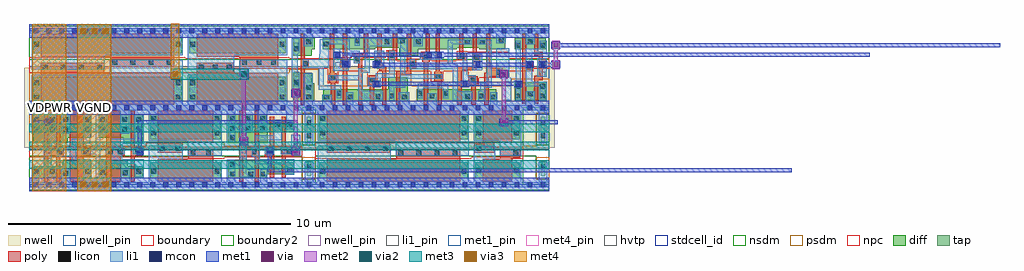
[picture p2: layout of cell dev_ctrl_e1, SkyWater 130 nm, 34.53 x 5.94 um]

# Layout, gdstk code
from math import pi, radians
import gdstk
lib = gdstk.Library(unit=1e-6, precision=1e-09)
def R(c, l, rs):  # rectangles x0, y0, x1, y1
    for r in rs: c.add(gdstk.rectangle(r[:2], r[2:], *l))
def A(c, l, x, y, w, h, nx, ny, dx, dy):  # array of equal rectangles
    R(c, l, [(x+i*dx, y+j*dy, x+i*dx+w, y+j*dy+h) for i in range(nx) for j in range(ny)])
def P(c, l, *ps):  # polygons
    for p in ps: c.add(gdstk.Polygon(p, *l))
nwell_pin = (64, 16)
nwell = (64, 20)
diff = (65, 20)
tap = (65, 44)
poly = (66, 20)
licon = (66, 44)
li1_pin = (67, 16)
li1 = (67, 20)
mcon = (67, 44)
met1_pin = (68, 16)
met1 = (68, 20)
via = (68, 44)
met2 = (69, 20)
via2 = (69, 44)
met3 = (70, 20)
via3 = (70, 44)
met4_pin = (71, 16)
met4 = (71, 20)
hvtp = (78, 44)
stdcell_id = (81, 4)
nsdm = (93, 44)
psdm = (94, 20)
npc = (95, 20)
pwell_pin = (122, 16)
boundary = (235, 4)
boundary2 = (236, 0)

sky130_fd_sc_hd__tapvpwr = lib.new_cell('sky130_fd_sc_hd__tapvpwrvgnd_1')
R(sky130_fd_sc_hd__tapvpwr, nwell, [(-0.19,1.305,0.65,2.91)])
R(sky130_fd_sc_hd__tapvpwr, tap, [(0.145,0.32,0.315,0.845), (0.145,1.525,0.315,2.4)])
R(sky130_fd_sc_hd__tapvpwr, licon, [(0.145,0.555,0.315,0.725), (0.145,1.645,0.315,1.815), (0.145,2.11,0.315,2.28)])
R(sky130_fd_sc_hd__tapvpwr, li1, [(0,-0.085,0.46,0.085), (0.085,0,0.375,0.81), (0.085,1.47,0.375,2.72), (0,2.635,0.46,2.805)])
R(sky130_fd_sc_hd__tapvpwr, mcon, [(0.145,-0.085,0.315,0.085), (0.145,2.635,0.315,2.805)])
R(sky130_fd_sc_hd__tapvpwr, met1_pin, [(0.105,-0.09,0.36,0.1), (0.11,2.62,0.375,2.765)])
R(sky130_fd_sc_hd__tapvpwr, met1, [(0,-0.24,0.46,0.24), (0,2.48,0.46,2.96)])
R(sky130_fd_sc_hd__tapvpwr, hvtp, [(0,1.25,0.46,2.72)])
R(sky130_fd_sc_hd__tapvpwr, stdcell_id, [(0,0,0.46,2.72)])
R(sky130_fd_sc_hd__tapvpwr, nsdm, [(0,-0.19,0.46,0.19), (0,1.395,0.46,2.53)])
R(sky130_fd_sc_hd__tapvpwr, psdm, [(0,0.19,0.46,0.975), (0,2.53,0.46,2.91)])
sky130_fd_sc_hd__tapvpwr.add(gdstk.Label('VPWR', (0.23,2.72), layer=68, texttype=5))
sky130_fd_sc_hd__tapvpwr.add(gdstk.Label('VGND', (0.23,0), layer=68, texttype=5))
sky130_fd_sc_hd__tapvpwr.add(gdstk.Label('tapvpwrvgnd_1', (0,0), layer=83, texttype=44))

sky130_fd_sc_hd__fill_1 = lib.new_cell('sky130_fd_sc_hd__fill_1')
R(sky130_fd_sc_hd__fill_1, nwell_pin, [(0.155,2.67,0.255,2.755)])
R(sky130_fd_sc_hd__fill_1, nwell, [(-0.19,1.305,0.65,2.91)])
R(sky130_fd_sc_hd__fill_1, mcon, [(0.145,-0.085,0.315,0.085), (0.145,2.635,0.315,2.805)])
R(sky130_fd_sc_hd__fill_1, met1_pin, [(0.11,-0.065,0.29,0.08), (0.11,2.635,0.29,2.785)])
R(sky130_fd_sc_hd__fill_1, hvtp, [(0,1.25,0.46,2.72)])
R(sky130_fd_sc_hd__fill_1, stdcell_id, [(0,0,0.46,2.72)])
R(sky130_fd_sc_hd__fill_1, nsdm, [(0,-0.19,0.46,1.015)])
R(sky130_fd_sc_hd__fill_1, psdm, [(0,1.355,0.46,2.91)])
R(sky130_fd_sc_hd__fill_1, pwell_pin, [(0.14,-0.055,0.26,0.055)])
sky130_fd_sc_hd__fill_1.add(gdstk.FlexPath([(0,0),(0.46,0)], 0.17, ends="flush", simple_path=True, layer=67, datatype=20))  # li1
sky130_fd_sc_hd__fill_1.add(gdstk.FlexPath([(0,2.72),(0.46,2.72)], 0.17, ends="flush", simple_path=True, layer=67, datatype=20))  # li1
sky130_fd_sc_hd__fill_1.add(gdstk.FlexPath([(0,2.72),(0.46,2.72)], 0.48, ends="flush", simple_path=True, layer=68, datatype=20))  # met1
sky130_fd_sc_hd__fill_1.add(gdstk.FlexPath([(0,0),(0.46,0)], 0.48, ends="flush", simple_path=True, layer=68, datatype=20))  # met1
sky130_fd_sc_hd__fill_1.add(gdstk.Label('VPWR', (0.205,2.72), layer=68, texttype=5))
sky130_fd_sc_hd__fill_1.add(gdstk.Label('VGND', (0.205,0), layer=68, texttype=5))
sky130_fd_sc_hd__fill_1.add(gdstk.Label('VPB', (0.23,2.72), layer=64, texttype=5))
sky130_fd_sc_hd__fill_1.add(gdstk.Label('VNB', (0.23,0), layer=64, texttype=59))
sky130_fd_sc_hd__fill_1.add(gdstk.Label('fill_1', (0,0), layer=83, texttype=44))

sky130_fd_sc_hd__dfrtp_1 = lib.new_cell('sky130_fd_sc_hd__dfrtp_1')
R(sky130_fd_sc_hd__dfrtp_1, nwell_pin, [(0.145,2.635,0.315,2.805)])
R(sky130_fd_sc_hd__dfrtp_1, nwell, [(-0.19,1.305,9.39,2.91)])
R(sky130_fd_sc_hd__dfrtp_1, diff, [(0.135,0.235,1.225,0.655), (0.135,1.815,1.225,2.455), (3.305,2.065,4.7,2.485)])
P(sky130_fd_sc_hd__dfrtp_1, diff, [(8,2.485),(5.015,2.485),(5.015,1.645),(5.695,1.645),(5.695,2.065),(8,2.065)],
  [(9.065,2.485),(8.325,2.485),(8.325,1.845),(8.405,1.845),(8.405,1.485),(9.065,1.485)],
  [(9.065,0.885),(8.405,0.885),(8.405,0.655),(8.295,0.655),(8.295,0.235),(9.065,0.235)],
  [(8.025,0.655),(6.165,0.655),(6.165,0.595),(5.315,0.595),(5.315,0.875),(4.645,0.875),(4.645,0.655),(3.285,0.655),(3.285,0.595),(2.49,0.595),(2.49,0.655),(1.565,0.655),(1.565,0.235),(8.025,0.235)],
  [(3.335,2.485),(1.89,2.485),(1.89,2.065),(3.33,2.065),(3.33,2.48),(3.335,2.48)])
R(sky130_fd_sc_hd__dfrtp_1, poly, [(3.875,0.105,4.025,1.515), (4.29,1.055,4.44,2.615), (3.805,1.445,4.08,1.775), (3.805,1.76,3.955,2.615)])
P(sky130_fd_sc_hd__dfrtp_1, poly, [(7.79,1.825),(7.73,1.825),(7.73,2.615),(7.58,2.615),(7.58,1.825),(7.52,1.825),(7.52,1.495),(7.615,1.495),(7.615,0.105),(7.765,0.105),(7.765,1.495),(7.79,1.495)],
  [(0.545,0.88),(0.38,0.88),(0.38,1.59),(0.545,1.59),(0.545,2.585),(0.395,2.585),(0.395,1.74),(0.23,1.74),(0.23,1.325),(0.11,1.325),(0.11,0.995),(0.23,0.995),(0.23,0.73),(0.395,0.73),(0.395,0.105),(0.545,0.105)],
  [(0.965,2.585),(0.815,2.585),(0.815,1.37),(0.59,1.37),(0.59,1.1),(0.815,1.1),(0.815,0.105),(0.965,0.105)],
  [(2.3,2.615),(2.15,2.615),(2.15,1.63),(1.655,1.63),(1.655,1.3),(2.09,1.3),(2.09,0.105),(2.24,0.105),(2.24,1.48),(2.3,1.48)],
  [(3.255,2.615),(3.105,2.615),(3.105,1.395),(2.565,1.395),(2.565,1.095),(2.45,1.095),(2.45,0.765),(2.565,0.765),(2.565,0.105),(2.715,0.105),(2.715,0.765),(2.72,0.765),(2.72,1.245),(3.255,1.245)],
  [(2.86,1.875),(2.76,1.875),(2.76,2.615),(2.61,2.615),(2.61,1.875),(2.53,1.875),(2.53,1.605),(2.86,1.605)],
  [(3.26,1.035),(2.93,1.035),(2.93,0.765),(3.045,0.765),(3.045,0.105),(3.195,0.105),(3.195,0.765),(3.26,0.765)],
  [(4.505,1.095),(4.235,1.095),(4.235,0.105),(4.385,0.105),(4.385,0.765),(4.505,0.765)],
  [(5.425,2.615),(5.275,2.615),(5.275,1.57),(4.895,1.57),(4.895,1.335),(4.715,1.335),(4.715,1.005),(4.895,1.005),(4.895,0.105),(5.045,0.105),(5.045,1.42),(5.425,1.42)],
  [(5.725,1.035),(5.39,1.035),(5.39,0.105),(5.54,0.105),(5.54,0.705),(5.725,0.705)],
  [(6.205,1.275),(6.085,1.275),(6.085,1.335),(6.02,1.335),(6.02,1.395),(5.92,1.395),(5.92,2.615),(5.77,2.615),(5.77,1.245),(5.875,1.245),(5.875,1.185),(5.935,1.185),(5.935,0.105),(6.085,0.105),(6.085,0.945),(6.205,0.945)],
  [(6.4,1.905),(6.35,1.905),(6.35,2.615),(6.2,2.615),(6.2,1.905),(6.13,1.905),(6.13,1.575),(6.4,1.575)],
  [(6.925,1.145),(6.77,1.145),(6.77,2.615),(6.62,2.615),(6.62,0.965),(6.415,0.965),(6.415,0.105),(6.565,0.105),(6.565,0.815),(6.925,0.815)],
  [(7.405,1.285),(7.31,1.285),(7.31,2.615),(7.16,2.615),(7.16,1.285),(7.135,1.285),(7.135,0.955),(7.16,0.955),(7.16,0.105),(7.31,0.105),(7.31,0.955),(7.405,0.955)],
  [(8.805,2.615),(8.655,2.615),(8.655,1.325),(8.51,1.325),(8.51,0.995),(8.655,0.995),(8.655,0.105),(8.805,0.105)])
R(sky130_fd_sc_hd__dfrtp_1, licon, [(1.625,0.275,1.795,0.445), (5.115,0.275,5.285,0.445), (6.725,0.275,6.895,0.445), (0.595,0.295,0.765,0.465), (4.555,0.295,4.725,0.465), (5.665,0.295,5.835,0.465), (8.435,0.295,8.605,0.465), (2.29,0.305,2.46,0.475), (2.825,0.305,2.995,0.475), (7.815,0.375,7.985,0.545), (0.175,0.425,0.345,0.595), (1.015,0.425,1.185,0.595), (8.855,0.545,9.025,0.715), (5.505,0.785,5.675,0.955), (3.01,0.815,3.18,0.985), (2.5,0.845,2.67,1.015), (4.285,0.845,4.455,1.015), (6.705,0.895,6.875,1.065), (5.985,1.025,6.155,1.195), (7.185,1.035,7.355,1.205), (0.16,1.075,0.33,1.245), (8.56,1.075,8.73,1.245), (4.765,1.085,4.935,1.255), (0.67,1.15,0.84,1.32), (1.705,1.38,1.875,1.55), (3.855,1.525,4.025,1.695), (7.57,1.575,7.74,1.745), (2.61,1.655,2.78,1.825), (6.18,1.655,6.35,1.825), (8.855,1.735,9.025,1.905), (0.175,1.875,0.345,2.045), (1.015,1.875,1.185,2.045), (8.435,1.915,8.605,2.085), (8.855,2.075,9.025,2.245), (3.585,2.125,3.755,2.295), (4.49,2.125,4.66,2.295), (7.36,2.125,7.53,2.295), (0.595,2.135,0.765,2.305), (4.07,2.205,4.24,2.375), (0.175,2.215,0.345,2.385), (1.015,2.215,1.185,2.385), (2.35,2.215,2.52,2.385), (5.495,2.215,5.665,2.385), (2.815,2.245,2.985,2.415), (5.98,2.25,6.15,2.42), (1.93,2.255,2.1,2.425), (5.055,2.255,5.225,2.425), (6.94,2.255,7.11,2.425), (7.79,2.255,7.96,2.425), (8.435,2.255,8.605,2.425)])
A(sky130_fd_sc_hd__dfrtp_1, li1_pin, 8.88, 1.445, 0.17, 0.17, 1, 3, 0, 0.34)
R(sky130_fd_sc_hd__dfrtp_1, li1_pin, [(8.88,0.425,9.05,0.595), (7.405,0.765,7.575,0.935), (0.15,1.105,0.32,1.275), (7.405,1.105,7.575,1.275), (0.15,1.445,0.32,1.615), (1.525,1.445,1.695,1.615)])
R(sky130_fd_sc_hd__dfrtp_1, li1, [(0,-0.085,9.2,0.085), (1.545,-0.03,1.875,0.445), (8.38,0.05,8.685,0.545), (4.475,0.055,4.805,0.545), (0.515,0.06,0.845,0.465), (6.705,0.065,6.895,0.525), (1.015,0.345,1.185,2.465), (1.415,0.615,1.875,1.665), (5.845,0.705,6.195,1.325), (2.385,0.765,2.735,1.385), (3.805,0.765,4.595,1.015), (0.09,0.975,0.44,1.625), (8.38,1.495,8.685,2.71), (3.775,1.525,5.13,1.695), (1.355,1.665,1.68,2.45), (0.515,2.135,0.845,2.665), (4.955,2.175,5.325,2.675), (6.94,2.175,7.19,2.69), (3.99,2.205,4.32,2.69), (7.71,2.255,8.04,2.7)])
P(sky130_fd_sc_hd__dfrtp_1, li1, [(0.84,1.965),(0.345,1.965),(0.345,2.465),(0.09,2.465),(0.09,1.795),(0.61,1.795),(0.61,0.805),(0.09,0.805),(0.09,0.345),(0.345,0.345),(0.345,0.635),(0.84,0.635)],
  [(2.54,0.475),(2.215,0.475),(2.215,1.835),(2.44,1.835),(2.44,2.135),(2.52,2.135),(2.52,2.465),(2.27,2.465),(2.27,2.005),(2.045,2.005),(2.045,0.305),(2.54,0.305)],
  [(3.26,0.985),(3.075,0.985),(3.075,1.965),(2.61,1.965),(2.61,1.575),(2.905,1.575),(2.905,0.765),(3.26,0.765)],
  [(4.935,1.355),(3.415,1.355),(3.415,2.465),(2.735,2.465),(2.735,2.135),(3.245,2.135),(3.245,1.185),(3.43,1.185),(3.43,0.475),(2.745,0.475),(2.745,0.305),(3.6,0.305),(3.6,1.185),(4.765,1.185),(4.765,1.005),(4.935,1.005)],
  [(9.11,2.325),(8.855,2.325),(8.855,1.445),(8.9,1.445),(8.9,0.795),(8.855,0.795),(8.855,0.265),(9.11,0.265)],
  [(5.665,2.465),(5.495,2.465),(5.495,2.005),(5.105,2.005),(5.105,0.835),(5.015,0.835),(5.015,0.275),(5.365,0.275),(5.365,0.445),(5.275,0.445),(5.275,1.835),(5.665,1.835)],
  [(6.43,1.955),(5.97,1.955),(5.97,1.665),(5.465,1.665),(5.465,0.705),(5.675,0.705),(5.675,1.495),(6.14,1.495),(6.14,1.655),(6.43,1.655)],
  [(7.645,1.405),(7.105,1.405),(7.105,1.035),(7.405,1.035),(7.405,0.635),(7.645,0.635)],
  [(7.82,1.745),(6.77,1.745),(6.77,2.465),(5.9,2.465),(5.9,2.125),(6.6,2.125),(6.6,1.485),(6.365,1.485),(6.365,0.535),(5.585,0.535),(5.585,0.255),(6.535,0.255),(6.535,1.315),(6.77,1.315),(6.77,1.575),(7.82,1.575)],
  [(9.2,2.805),(0,2.805),(0,2.635),(1.85,2.635),(1.85,2.175),(2.1,2.175),(2.1,2.635),(9.2,2.635)],
  [(8.73,1.325),(8.16,1.325),(8.16,2.085),(7.53,2.085),(7.53,2.375),(7.36,2.375),(7.36,1.915),(7.99,1.915),(7.99,1.295),(7.815,1.295),(7.815,0.465),(7.235,0.465),(7.235,0.865),(6.925,0.865),(6.925,1.145),(6.705,1.145),(6.705,0.695),(7.065,0.695),(7.065,0.295),(8.135,0.295),(8.135,0.82),(8.14,0.82),(8.14,0.995),(8.73,0.995)],
  [(4.66,2.375),(4.49,2.375),(4.49,2.035),(3.755,2.035),(3.755,2.375),(3.585,2.375),(3.585,1.865),(4.66,1.865)])
A(sky130_fd_sc_hd__dfrtp_1, mcon, 0.145, -0.085, 0.17, 0.17, 20, 2, 0.46, 2.72)
R(sky130_fd_sc_hd__dfrtp_1, mcon, [(3.805,0.765,3.975,0.935), (4.165,0.765,4.335,0.935), (7.405,0.765,7.575,0.935), (7.105,1.08,7.275,1.25), (0.61,1.105,0.78,1.275), (2.445,1.105,2.615,1.275), (6.025,1.105,6.195,1.275), (1.015,1.785,1.185,1.955), (2.905,1.785,3.075,1.955), (6.025,1.785,6.195,1.955)])
R(sky130_fd_sc_hd__dfrtp_1, met1_pin, [(0.145,-0.085,0.315,0.085), (0.145,2.635,0.315,2.805)])
R(sky130_fd_sc_hd__dfrtp_1, met1, [(7.045,0.91,7.335,1.28), (0.55,1.075,0.84,1.305), (5.965,1.075,6.255,1.305), (0.955,1.755,1.245,1.985), (5.965,1.755,6.255,1.985)])
P(sky130_fd_sc_hd__dfrtp_1, met1, [(7.635,0.965),(7.335,0.965),(7.335,0.92),(4.395,0.92),(4.395,0.965),(3.745,0.965),(3.745,0.735),(4.395,0.735),(4.395,0.78),(7.345,0.78),(7.345,0.735),(7.635,0.735)],
  [(6.075,1.94),(3.135,1.94),(3.135,1.985),(2.845,1.985),(2.845,1.94),(1.185,1.94),(1.185,1.8),(2.845,1.8),(2.845,1.755),(3.135,1.755),(3.135,1.8),(6.075,1.8)],
  [(6.045,1.26),(2.675,1.26),(2.675,1.305),(2.385,1.305),(2.385,1.26),(0.82,1.26),(0.82,1.12),(2.385,1.12),(2.385,1.075),(2.675,1.075),(2.675,1.12),(6.045,1.12)])
R(sky130_fd_sc_hd__dfrtp_1, hvtp, [(0,1.25,9.2,2.72)])
R(sky130_fd_sc_hd__dfrtp_1, stdcell_id, [(0,0,9.2,2.72)])
R(sky130_fd_sc_hd__dfrtp_1, nsdm, [(0,-0.19,9.2,1.015)])
P(sky130_fd_sc_hd__dfrtp_1, psdm, [(9.2,2.91),(0,2.91),(0,1.685),(1.35,1.685),(1.35,1.935),(4.885,1.935),(4.885,1.515),(5.825,1.515),(5.825,1.935),(8.155,1.935),(8.155,1.355),(9.2,1.355)])
R(sky130_fd_sc_hd__dfrtp_1, npc, [(3.755,1.365,4.195,1.795)])
P(sky130_fd_sc_hd__dfrtp_1, npc, [(9.2,1.345),(7.84,1.345),(7.84,1.845),(7.47,1.845),(7.47,1.42),(6.45,1.42),(6.45,1.925),(6.08,1.925),(6.08,1.42),(2.88,1.42),(2.88,1.925),(2.51,1.925),(2.51,1.65),(1.6,1.65),(1.6,1.42),(0.565,1.42),(0.565,1.345),(0,1.345),(0,0.975),(1.425,0.975),(1.425,0.745),(2.91,0.745),(2.91,0.715),(3.28,0.715),(3.28,1.05),(4.185,1.05),(4.185,0.745),(4.555,0.745),(4.555,0.985),(5.055,0.985),(5.055,1.05),(5.405,1.05),(5.405,0.685),(5.775,0.685),(5.775,0.925),(6.605,0.925),(6.605,0.795),(6.975,0.795),(6.975,0.935),(7.455,0.935),(7.455,0.975),(9.2,0.975)])
R(sky130_fd_sc_hd__dfrtp_1, pwell_pin, [(0.145,-0.085,0.315,0.085)])
R(sky130_fd_sc_hd__dfrtp_1, boundary2, [(0,0,9.2,2.72)])
sky130_fd_sc_hd__dfrtp_1.add(gdstk.FlexPath([(0,0),(9.2,0)], 0.48, ends="flush", simple_path=True, layer=68, datatype=20))  # met1
sky130_fd_sc_hd__dfrtp_1.add(gdstk.FlexPath([(0,2.72),(9.2,2.72)], 0.48, ends="flush", simple_path=True, layer=68, datatype=20))  # met1
sky130_fd_sc_hd__dfrtp_1.add(gdstk.Label('Q', (8.965,2.21), layer=67, texttype=5))
sky130_fd_sc_hd__dfrtp_1.add(gdstk.Label('Q', (8.965,1.87), layer=67, texttype=5))
sky130_fd_sc_hd__dfrtp_1.add(gdstk.Label('Q', (8.965,1.53), layer=67, texttype=5))
sky130_fd_sc_hd__dfrtp_1.add(gdstk.Label('Q', (8.965,0.51), layer=67, texttype=5))
sky130_fd_sc_hd__dfrtp_1.add(gdstk.Label('RESET_B', (7.49,0.85), layer=67, texttype=5))
sky130_fd_sc_hd__dfrtp_1.add(gdstk.Label('D', (1.61,1.53), layer=67, texttype=5))
sky130_fd_sc_hd__dfrtp_1.add(gdstk.Label('CLK', (0.235,1.53), layer=67, texttype=5))
sky130_fd_sc_hd__dfrtp_1.add(gdstk.Label('CLK', (0.235,1.19), layer=67, texttype=5))
sky130_fd_sc_hd__dfrtp_1.add(gdstk.Label('RESET_B', (7.49,1.19), layer=67, texttype=5))
sky130_fd_sc_hd__dfrtp_1.add(gdstk.Label('VGND', (0.23,0), layer=68, texttype=5))
sky130_fd_sc_hd__dfrtp_1.add(gdstk.Label('VPWR', (0.23,2.72), layer=68, texttype=5))
sky130_fd_sc_hd__dfrtp_1.add(gdstk.Label('VPB', (0.23,2.72), layer=64, texttype=5))
sky130_fd_sc_hd__dfrtp_1.add(gdstk.Label('VNB', (0.23,0), layer=64, texttype=59))
sky130_fd_sc_hd__dfrtp_1.add(gdstk.Label('dfrtp_1', (0,0), layer=83, texttype=44))

sky130_fd_sc_hd__decap_1 = lib.new_cell('sky130_fd_sc_hd__decap_12')
R(sky130_fd_sc_hd__decap_1, nwell_pin, [(0.145,2.635,0.315,2.805)])
R(sky130_fd_sc_hd__decap_1, nwell, [(-0.19,1.305,5.71,2.91)])
R(sky130_fd_sc_hd__decap_1, diff, [(0.135,0.235,5.385,0.785), (0.135,1.615,5.385,2.485)])
P(sky130_fd_sc_hd__decap_1, poly, [(5.125,2.615),(0.395,2.615),(0.395,1.125),(2.645,1.125),(2.645,1.485),(5.125,1.485)],
  [(5.125,1.275),(2.855,1.275),(2.855,0.915),(0.395,0.915),(0.395,0.105),(5.125,0.105)])
A(sky130_fd_sc_hd__decap_1, licon, 2.935, 1.025, 0.17, 0.17, 4, 1, 0.64, 0)
A(sky130_fd_sc_hd__decap_1, licon, 0.475, 1.205, 0.17, 0.17, 4, 1, 0.64, 0)
R(sky130_fd_sc_hd__decap_1, licon, [(0.175,0.39,0.345,0.56), (5.175,0.39,5.345,0.56), (0.175,1.745,0.345,1.915), (5.175,1.745,5.345,1.915), (0.175,2.255,0.345,2.425), (5.175,2.255,5.345,2.425)])
P(sky130_fd_sc_hd__decap_1, li1, [(5.52,0.085),(5.43,0.085),(5.43,0.855),(2.665,0.855),(2.665,1.375),(0.085,1.375),(0.085,0.085),(0,0.085),(0,-0.085),(5.52,-0.085)],
  [(5.52,2.805),(0,2.805),(0,2.635),(0.085,2.635),(0.085,1.545),(2.835,1.545),(2.835,1.025),(5.43,1.025),(5.43,2.635),(5.52,2.635)])
A(sky130_fd_sc_hd__decap_1, mcon, 0.145, -0.085, 0.17, 0.17, 12, 2, 0.46, 2.72)
R(sky130_fd_sc_hd__decap_1, met1_pin, [(0.145,-0.085,0.315,0.085), (0.145,2.635,0.315,2.805)])
R(sky130_fd_sc_hd__decap_1, hvtp, [(0,1.25,5.52,2.72)])
R(sky130_fd_sc_hd__decap_1, stdcell_id, [(0,0,5.52,2.72)])
R(sky130_fd_sc_hd__decap_1, nsdm, [(0,-0.19,5.52,1.015)])
R(sky130_fd_sc_hd__decap_1, psdm, [(0,1.485,5.52,2.91)])
R(sky130_fd_sc_hd__decap_1, npc, [(0,0.925,5.52,1.475)])
R(sky130_fd_sc_hd__decap_1, pwell_pin, [(0.145,-0.085,0.315,0.085)])
R(sky130_fd_sc_hd__decap_1, boundary2, [(0,0,5.52,2.72)])
sky130_fd_sc_hd__decap_1.add(gdstk.FlexPath([(0,2.72),(5.52,2.72)], 0.48, ends="flush", simple_path=True, layer=68, datatype=20))  # met1
sky130_fd_sc_hd__decap_1.add(gdstk.FlexPath([(0,0),(5.52,0)], 0.48, ends="flush", simple_path=True, layer=68, datatype=20))  # met1
sky130_fd_sc_hd__decap_1.add(gdstk.Label('VGND', (0.23,0), layer=68, texttype=5))
sky130_fd_sc_hd__decap_1.add(gdstk.Label('VPWR', (0.23,2.72), layer=68, texttype=5))
sky130_fd_sc_hd__decap_1.add(gdstk.Label('VPB', (0.23,2.72), layer=64, texttype=5))
sky130_fd_sc_hd__decap_1.add(gdstk.Label('VNB', (0.23,0), layer=64, texttype=59))
sky130_fd_sc_hd__decap_1.add(gdstk.Label('decap_12', (0,0), layer=83, texttype=44))

sky130_fd_sc_hd__decap_8 = lib.new_cell('sky130_fd_sc_hd__decap_8')
R(sky130_fd_sc_hd__decap_8, nwell_pin, [(0.145,2.635,0.315,2.805)])
R(sky130_fd_sc_hd__decap_8, nwell, [(-0.19,1.305,3.87,2.91)])
R(sky130_fd_sc_hd__decap_8, diff, [(0.135,0.235,3.545,0.785), (0.135,1.615,3.545,2.485)])
P(sky130_fd_sc_hd__decap_8, poly, [(3.285,2.615),(0.395,2.615),(0.395,1.125),(1.715,1.125),(1.715,1.485),(3.285,1.485)],
  [(3.285,1.275),(1.925,1.275),(1.925,0.915),(0.395,0.915),(0.395,0.105),(3.285,0.105)])
A(sky130_fd_sc_hd__decap_8, licon, 2.005, 1.025, 0.17, 0.17, 3, 1, 0.515, 0)
A(sky130_fd_sc_hd__decap_8, licon, 0.475, 1.205, 0.17, 0.17, 3, 1, 0.495, 0)
R(sky130_fd_sc_hd__decap_8, licon, [(0.175,0.39,0.345,0.56), (3.335,0.39,3.505,0.56), (0.175,1.745,0.345,1.915), (3.335,1.745,3.505,1.915), (0.175,2.255,0.345,2.425), (3.335,2.255,3.505,2.425)])
P(sky130_fd_sc_hd__decap_8, li1, [(3.68,0.085),(3.595,0.085),(3.595,0.855),(1.735,0.855),(1.735,1.375),(0.085,1.375),(0.085,0.085),(0,0.085),(0,-0.085),(3.68,-0.085)],
  [(3.68,2.805),(0,2.805),(0,2.635),(0.085,2.635),(0.085,1.545),(1.905,1.545),(1.905,1.025),(3.595,1.025),(3.595,2.635),(3.68,2.635)])
A(sky130_fd_sc_hd__decap_8, mcon, 0.145, -0.085, 0.17, 0.17, 8, 2, 0.46, 2.72)
R(sky130_fd_sc_hd__decap_8, met1_pin, [(0.145,-0.085,0.315,0.085), (0.145,2.635,0.315,2.805)])
R(sky130_fd_sc_hd__decap_8, hvtp, [(0,1.25,3.68,2.72)])
R(sky130_fd_sc_hd__decap_8, stdcell_id, [(0,0,3.68,2.72)])
R(sky130_fd_sc_hd__decap_8, nsdm, [(0,-0.19,3.68,1.015)])
R(sky130_fd_sc_hd__decap_8, psdm, [(0,1.485,3.68,2.91)])
P(sky130_fd_sc_hd__decap_8, npc, [(3.68,1.345),(1.735,1.345),(1.735,1.475),(0,1.475),(0,0.975),(1.905,0.975),(1.905,0.925),(3.68,0.925)])
R(sky130_fd_sc_hd__decap_8, pwell_pin, [(0.145,-0.085,0.315,0.085)])
R(sky130_fd_sc_hd__decap_8, boundary2, [(0,0,3.68,2.72)])
sky130_fd_sc_hd__decap_8.add(gdstk.FlexPath([(0,2.72),(3.68,2.72)], 0.48, ends="flush", simple_path=True, layer=68, datatype=20))  # met1
sky130_fd_sc_hd__decap_8.add(gdstk.FlexPath([(0,0),(3.68,0)], 0.48, ends="flush", simple_path=True, layer=68, datatype=20))  # met1
sky130_fd_sc_hd__decap_8.add(gdstk.Label('VPWR', (0.23,2.72), layer=68, texttype=5))
sky130_fd_sc_hd__decap_8.add(gdstk.Label('VGND', (0.23,0), layer=68, texttype=5))
sky130_fd_sc_hd__decap_8.add(gdstk.Label('VPB', (0.23,2.72), layer=64, texttype=5))
sky130_fd_sc_hd__decap_8.add(gdstk.Label('VNB', (0.23,0), layer=64, texttype=59))
sky130_fd_sc_hd__decap_8.add(gdstk.Label('decap_8', (0,0), layer=83, texttype=44))

sky130_fd_sc_hd__decap_6 = lib.new_cell('sky130_fd_sc_hd__decap_6')
R(sky130_fd_sc_hd__decap_6, nwell_pin, [(0.145,2.635,0.315,2.805)])
R(sky130_fd_sc_hd__decap_6, nwell, [(-0.19,1.305,2.95,2.91)])
R(sky130_fd_sc_hd__decap_6, diff, [(0.135,0.235,2.625,0.785), (0.135,1.615,2.625,2.485)])
P(sky130_fd_sc_hd__decap_6, poly, [(2.365,2.615),(0.395,2.615),(0.395,1.125),(1.275,1.125),(1.275,1.485),(2.365,1.485)],
  [(2.365,1.275),(1.485,1.275),(1.485,0.915),(0.395,0.915),(0.395,0.105),(2.365,0.105)])
R(sky130_fd_sc_hd__decap_6, licon, [(0.175,0.39,0.345,0.56), (2.415,0.39,2.585,0.56), (1.565,1.025,1.735,1.195), (2.115,1.025,2.285,1.195), (0.475,1.205,0.645,1.375), (1.025,1.205,1.195,1.375), (0.175,1.745,0.345,1.915), (2.415,1.745,2.585,1.915), (0.175,2.255,0.345,2.425), (2.415,2.255,2.585,2.425)])
P(sky130_fd_sc_hd__decap_6, li1, [(2.76,0.085),(2.675,0.085),(2.675,0.855),(1.295,0.855),(1.295,1.375),(0.085,1.375),(0.085,0.085),(0,0.085),(0,-0.085),(2.76,-0.085)],
  [(2.76,2.805),(0,2.805),(0,2.635),(0.085,2.635),(0.085,1.545),(1.465,1.545),(1.465,1.025),(2.675,1.025),(2.675,2.635),(2.76,2.635)])
A(sky130_fd_sc_hd__decap_6, mcon, 0.145, -0.085, 0.17, 0.17, 6, 2, 0.46, 2.72)
R(sky130_fd_sc_hd__decap_6, met1_pin, [(0.145,-0.085,0.315,0.085), (0.145,2.635,0.315,2.805)])
R(sky130_fd_sc_hd__decap_6, hvtp, [(0,1.25,2.76,2.72)])
R(sky130_fd_sc_hd__decap_6, stdcell_id, [(0,0,2.76,2.72)])
R(sky130_fd_sc_hd__decap_6, nsdm, [(0,-0.19,2.76,1.015)])
R(sky130_fd_sc_hd__decap_6, psdm, [(0,1.485,2.76,2.91)])
P(sky130_fd_sc_hd__decap_6, npc, [(2.76,1.345),(1.295,1.345),(1.295,1.475),(0,1.475),(0,0.975),(1.465,0.975),(1.465,0.925),(2.76,0.925)])
R(sky130_fd_sc_hd__decap_6, pwell_pin, [(0.145,-0.085,0.315,0.085)])
R(sky130_fd_sc_hd__decap_6, boundary2, [(0,0,2.76,2.72)])
sky130_fd_sc_hd__decap_6.add(gdstk.FlexPath([(0,2.72),(2.76,2.72)], 0.48, ends="flush", simple_path=True, layer=68, datatype=20))  # met1
sky130_fd_sc_hd__decap_6.add(gdstk.FlexPath([(0,0),(2.76,0)], 0.48, ends="flush", simple_path=True, layer=68, datatype=20))  # met1
sky130_fd_sc_hd__decap_6.add(gdstk.Label('VPWR', (0.23,2.72), layer=68, texttype=5))
sky130_fd_sc_hd__decap_6.add(gdstk.Label('VGND', (0.23,0), layer=68, texttype=5))
sky130_fd_sc_hd__decap_6.add(gdstk.Label('VPB', (0.23,2.72), layer=64, texttype=5))
sky130_fd_sc_hd__decap_6.add(gdstk.Label('VNB', (0.23,0), layer=64, texttype=59))
sky130_fd_sc_hd__decap_6.add(gdstk.Label('decap_6', (0,0), layer=83, texttype=44))

sky130_fd_sc_hd__decap_4 = lib.new_cell('sky130_fd_sc_hd__decap_4')
R(sky130_fd_sc_hd__decap_4, nwell_pin, [(0.145,2.635,0.315,2.805)])
R(sky130_fd_sc_hd__decap_4, nwell, [(-0.19,1.305,2.03,2.91)])
R(sky130_fd_sc_hd__decap_4, diff, [(0.135,0.235,1.705,0.785), (0.135,1.615,1.705,2.485)])
P(sky130_fd_sc_hd__decap_4, poly, [(1.445,2.615),(0.395,2.615),(0.395,1.455),(0.105,1.455),(0.105,1.125),(0.815,1.125),(0.815,1.485),(1.445,1.485)],
  [(1.735,1.275),(1.025,1.275),(1.025,0.915),(0.395,0.915),(0.395,0.105),(1.445,0.105),(1.445,0.945),(1.735,0.945)])
R(sky130_fd_sc_hd__decap_4, licon, [(0.175,0.425,0.345,0.595), (1.495,0.425,1.665,0.595), (1.485,1.025,1.655,1.195), (0.185,1.205,0.355,1.375), (0.175,1.745,0.345,1.915), (1.495,1.745,1.665,1.915), (0.175,2.255,0.345,2.425), (1.495,2.255,1.665,2.425)])
P(sky130_fd_sc_hd__decap_4, li1, [(1.84,2.805),(0,2.805),(0,2.635),(0.085,2.635),(0.085,1.545),(1.005,1.545),(1.005,1.025),(1.755,1.025),(1.755,2.635),(1.84,2.635)],
  [(1.84,0.085),(1.755,0.085),(1.755,0.855),(0.835,0.855),(0.835,1.375),(0.085,1.375),(0.085,0.085),(0,0.085),(0,-0.085),(1.84,-0.085)])
A(sky130_fd_sc_hd__decap_4, mcon, 0.145, -0.085, 0.17, 0.17, 4, 2, 0.46, 2.72)
R(sky130_fd_sc_hd__decap_4, met1_pin, [(0.145,-0.085,0.315,0.085), (0.145,2.635,0.315,2.805)])
R(sky130_fd_sc_hd__decap_4, hvtp, [(0,1.25,1.84,2.72)])
R(sky130_fd_sc_hd__decap_4, stdcell_id, [(0,0,1.84,2.72)])
R(sky130_fd_sc_hd__decap_4, nsdm, [(0,-0.19,1.84,1.015)])
R(sky130_fd_sc_hd__decap_4, psdm, [(0,1.485,1.84,2.91)])
P(sky130_fd_sc_hd__decap_4, npc, [(1.84,1.345),(0.455,1.345),(0.455,1.475),(0,1.475),(0,0.975),(1.385,0.975),(1.385,0.925),(1.84,0.925)])
R(sky130_fd_sc_hd__decap_4, pwell_pin, [(0.145,-0.085,0.315,0.085)])
R(sky130_fd_sc_hd__decap_4, boundary2, [(0,0,1.84,2.72)])
sky130_fd_sc_hd__decap_4.add(gdstk.FlexPath([(0,2.72),(1.84,2.72)], 0.48, ends="flush", simple_path=True, layer=68, datatype=20))  # met1
sky130_fd_sc_hd__decap_4.add(gdstk.FlexPath([(0,0),(1.84,0)], 0.48, ends="flush", simple_path=True, layer=68, datatype=20))  # met1
sky130_fd_sc_hd__decap_4.add(gdstk.Label('VGND', (0.23,0), layer=68, texttype=5))
sky130_fd_sc_hd__decap_4.add(gdstk.Label('VPWR', (0.23,2.72), layer=68, texttype=5))
sky130_fd_sc_hd__decap_4.add(gdstk.Label('VPB', (0.23,2.72), layer=64, texttype=5))
sky130_fd_sc_hd__decap_4.add(gdstk.Label('VNB', (0.23,0), layer=64, texttype=59))
sky130_fd_sc_hd__decap_4.add(gdstk.Label('decap_4', (0,0), layer=83, texttype=44))

sky130_fd_sc_hd__clkdlyb = lib.new_cell('sky130_fd_sc_hd__clkdlybuf4s50_2')
R(sky130_fd_sc_hd__clkdlyb, nwell_pin, [(0.15,2.635,0.32,2.805)])
R(sky130_fd_sc_hd__clkdlyb, nwell, [(-0.19,1.305,4.33,2.91)])
P(sky130_fd_sc_hd__clkdlyb, diff, [(1.68,2.485),(0.135,2.485),(0.135,1.485),(0.805,1.485),(0.805,1.665),(1.68,1.665)],
  [(1.68,0.885),(0.665,0.885),(0.665,0.655),(0.135,0.655),(0.135,0.235),(1.68,0.235)],
  [(4.005,2.485),(1.95,2.485),(1.95,1.665),(2.79,1.665),(2.79,1.485),(4.005,1.485)],
  [(4.005,0.655),(2.96,0.655),(2.96,0.885),(1.95,0.885),(1.95,0.235),(4.005,0.235)])
P(sky130_fd_sc_hd__clkdlyb, poly, [(0.555,2.615),(0.405,2.615),(0.405,1.305),(0.15,1.305),(0.15,1.015),(0.405,1.015),(0.405,0.105),(0.555,0.105)],
  [(1.435,1.295),(1.415,1.295),(1.415,2.615),(0.915,2.615),(0.915,1.295),(0.765,1.295),(0.765,1.025),(0.915,1.025),(0.915,0.105),(1.415,0.105),(1.415,1.025),(1.435,1.025)],
  [(2.71,2.615),(2.21,2.615),(2.21,1.305),(1.975,1.305),(1.975,1.015),(2.21,1.015),(2.21,0.105),(2.71,0.105)],
  [(3.615,2.615),(3.465,2.615),(3.465,1.295),(3.19,1.295),(3.19,2.615),(3.04,2.615),(3.04,1.325),(2.92,1.325),(2.92,0.995),(3.04,0.995),(3.04,0.105),(3.19,0.105),(3.19,1.025),(3.465,1.025),(3.465,0.105),(3.615,0.105)])
R(sky130_fd_sc_hd__clkdlyb, licon, [(2.765,0.315,2.935,0.485), (0.665,0.34,0.835,0.51), (1.47,0.35,1.64,0.52), (0.18,0.385,0.35,0.555), (1.99,0.385,2.16,0.555), (3.245,0.385,3.415,0.555), (3.795,0.385,3.965,0.555), (0.23,1.075,0.4,1.245), (0.845,1.075,1.015,1.245), (1.185,1.075,1.355,1.245), (2.055,1.075,2.225,1.245), (2.97,1.075,3.14,1.245), (1.99,1.875,2.16,2.045), (3.245,1.875,3.415,2.045), (0.18,1.88,0.35,2.05), (0.68,1.88,0.85,2.05), (1.47,1.88,1.64,2.05), (2.765,1.88,2.935,2.05), (3.795,1.88,3.965,2.05), (1.99,2.215,2.16,2.385), (3.245,2.215,3.415,2.385), (0.18,2.22,0.35,2.39), (0.68,2.22,0.85,2.39), (1.47,2.22,1.64,2.39), (2.765,2.22,2.935,2.39), (3.795,2.22,3.965,2.39)])
A(sky130_fd_sc_hd__clkdlyb, li1_pin, 3.39, 0.425, 0.17, 0.17, 1, 6, 0, 0.34)
R(sky130_fd_sc_hd__clkdlyb, li1_pin, [(0.15,1.105,0.32,1.275)])
R(sky130_fd_sc_hd__clkdlyb, li1, [(0.085,1.075,0.48,1.285)])
P(sky130_fd_sc_hd__clkdlyb, li1, [(4.14,0.085),(4.055,0.085),(4.055,0.635),(3.795,0.635),(3.795,0.085),(3.015,0.085),(3.015,0.565),(2.685,0.565),(2.685,0.085),(0.915,0.085),(0.915,0.565),(0.585,0.565),(0.585,0.085),(0,0.085),(0,-0.085),(4.14,-0.085)],
  [(4.14,2.805),(0,2.805),(0,2.635),(0.6,2.635),(0.6,1.8),(0.93,1.8),(0.93,2.635),(2.685,2.635),(2.685,1.8),(3.015,1.8),(3.015,2.635),(3.795,2.635),(3.795,1.8),(4.055,1.8),(4.055,2.635),(4.14,2.635)],
  [(1.435,1.245),(1.27,1.245),(1.27,1.63),(0.43,1.63),(0.43,2.465),(0.085,2.465),(0.085,1.455),(0.85,1.455),(0.85,1.245),(0.765,1.245),(0.765,1.075),(0.85,1.075),(0.85,0.905),(0.085,0.905),(0.085,0.27),(0.415,0.27),(0.415,0.735),(1.27,0.735),(1.27,1.075),(1.435,1.075)],
  [(2.305,1.245),(1.795,1.245),(1.795,2.465),(1.39,2.465),(1.39,1.785),(1.625,1.785),(1.625,0.9),(1.44,0.9),(1.44,0.27),(1.795,0.27),(1.795,1.075),(2.305,1.075)],
  [(3.175,1.325),(2.645,1.325),(2.645,1.63),(2.235,1.63),(2.235,2.465),(1.985,2.465),(1.985,1.46),(2.475,1.46),(2.475,0.905),(1.985,0.905),(1.985,0.27),(2.235,0.27),(2.235,0.735),(2.645,0.735),(2.645,0.995),(3.175,0.995)],
  [(3.625,2.465),(3.185,2.465),(3.185,1.53),(3.345,1.53),(3.345,0.64),(3.185,0.64),(3.185,0.27),(3.625,0.27)])
A(sky130_fd_sc_hd__clkdlyb, mcon, 0.145, -0.085, 0.17, 0.17, 9, 2, 0.46, 2.72)
R(sky130_fd_sc_hd__clkdlyb, met1_pin, [(0.15,-0.085,0.32,0.085), (0.15,2.635,0.32,2.805)])
R(sky130_fd_sc_hd__clkdlyb, hvtp, [(0,1.25,4.14,2.72)])
R(sky130_fd_sc_hd__clkdlyb, stdcell_id, [(0,0,4.14,2.72)])
R(sky130_fd_sc_hd__clkdlyb, nsdm, [(0,-0.19,4.14,1.015)])
R(sky130_fd_sc_hd__clkdlyb, psdm, [(0,1.355,4.14,2.91)])
R(sky130_fd_sc_hd__clkdlyb, npc, [(0,0.975,4.14,1.345)])
R(sky130_fd_sc_hd__clkdlyb, pwell_pin, [(0.15,-0.085,0.32,0.085)])
R(sky130_fd_sc_hd__clkdlyb, boundary2, [(0,0,4.14,2.72)])
sky130_fd_sc_hd__clkdlyb.add(gdstk.FlexPath([(0,2.72),(4.14,2.72)], 0.48, ends="flush", simple_path=True, layer=68, datatype=20))  # met1
sky130_fd_sc_hd__clkdlyb.add(gdstk.FlexPath([(0,0),(4.14,0)], 0.48, ends="flush", simple_path=True, layer=68, datatype=20))  # met1
sky130_fd_sc_hd__clkdlyb.add(gdstk.Label('A', (0.235,1.19), layer=67, texttype=5))
sky130_fd_sc_hd__clkdlyb.add(gdstk.Label('X', (3.475,2.21), layer=67, texttype=5))
sky130_fd_sc_hd__clkdlyb.add(gdstk.Label('X', (3.475,1.87), layer=67, texttype=5))
sky130_fd_sc_hd__clkdlyb.add(gdstk.Label('X', (3.475,1.53), layer=67, texttype=5))
sky130_fd_sc_hd__clkdlyb.add(gdstk.Label('X', (3.475,1.19), layer=67, texttype=5))
sky130_fd_sc_hd__clkdlyb.add(gdstk.Label('X', (3.475,0.85), layer=67, texttype=5))
sky130_fd_sc_hd__clkdlyb.add(gdstk.Label('X', (3.475,0.51), layer=67, texttype=5))
sky130_fd_sc_hd__clkdlyb.add(gdstk.Label('VNB', (0.23,0), layer=64, texttype=59))
sky130_fd_sc_hd__clkdlyb.add(gdstk.Label('VPB', (0.23,2.72), layer=64, texttype=5))
sky130_fd_sc_hd__clkdlyb.add(gdstk.Label('VGND', (0.23,0), layer=68, texttype=5))
sky130_fd_sc_hd__clkdlyb.add(gdstk.Label('VPWR', (0.23,2.72), layer=68, texttype=5))
sky130_fd_sc_hd__clkdlyb.add(gdstk.Label('clkdlybuf4s50_2', (0,0), layer=83, texttype=44))

sky130_fd_sc_hd__and2_2 = lib.new_cell('sky130_fd_sc_hd__and2_2')
R(sky130_fd_sc_hd__and2_2, nwell_pin, [(0.145,2.635,0.315,2.805)])
R(sky130_fd_sc_hd__and2_2, nwell, [(-0.19,1.305,2.95,2.91)])
P(sky130_fd_sc_hd__and2_2, diff, [(2.615,2.485),(1.285,2.485),(1.285,2.275),(0.305,2.275),(0.305,1.855),(1.235,1.855),(1.235,1.485),(2.615,1.485)],
  [(2.615,0.885),(1.285,0.885),(1.285,0.795),(0.305,0.795),(0.305,0.375),(1.285,0.375),(1.285,0.235),(2.615,0.235)])
P(sky130_fd_sc_hd__and2_2, poly, [(0.735,2.405),(0.585,2.405),(0.585,1.325),(0.3,1.325),(0.3,0.995),(0.585,0.995),(0.585,0.245),(0.735,0.245)],
  [(1.335,1.325),(1.155,1.325),(1.155,2.405),(1.005,2.405),(1.005,0.245),(1.155,0.245),(1.155,0.995),(1.335,0.995)],
  [(2.235,2.615),(2.085,2.615),(2.085,1.325),(1.695,1.325),(1.695,2.615),(1.545,2.615),(1.545,0.105),(1.695,0.105),(1.695,0.995),(2.085,0.995),(2.085,0.105),(2.235,0.105)])
A(sky130_fd_sc_hd__and2_2, licon, 2.385, 1.575, 0.17, 0.17, 1, 3, 0, 0.34)
R(sky130_fd_sc_hd__and2_2, licon, [(1.325,0.295,1.495,0.465), (1.745,0.295,1.915,0.465), (2.385,0.295,2.555,0.465), (0.365,0.435,0.535,0.605), (2.385,0.635,2.555,0.805), (0.38,1.075,0.55,1.245), (1.085,1.075,1.255,1.245), (1.625,1.075,1.795,1.245), (1.325,1.915,1.495,2.085), (1.845,1.915,2.015,2.085), (0.365,2.045,0.535,2.215), (0.785,2.045,0.955,2.215), (1.325,2.255,1.495,2.425), (1.845,2.255,2.015,2.425)])
A(sky130_fd_sc_hd__and2_2, li1_pin, 1.985, 0.425, 0.17, 0.17, 1, 6, 0, 0.34)
A(sky130_fd_sc_hd__and2_2, li1_pin, 0.145, 1.105, 0.17, 0.17, 3, 1, 0.46, 0)
R(sky130_fd_sc_hd__and2_2, li1_pin, [(0.145,1.445,0.315,1.615)])
R(sky130_fd_sc_hd__and2_2, li1, [(1.005,1.075,1.335,1.325)])
P(sky130_fd_sc_hd__and2_2, li1, [(0.085,1.075),(0.085,1.765),(0.4,1.765),(0.4,1.325),(0.775,1.325),(0.775,1.075)],
  [(1.795,1.325),(1.675,1.325),(1.675,1.745),(1.035,1.745),(1.035,2.295),(0.735,2.295),(0.735,1.575),(1.505,1.575),(1.505,0.905),(0.285,0.905),(0.285,0.355),(0.615,0.355),(0.615,0.715),(1.675,0.715),(1.675,0.995),(1.795,0.995)],
  [(2.76,0.085),(2.675,0.085),(2.675,0.885),(2.385,0.885),(2.385,0.085),(1.495,0.085),(1.495,0.545),(1.245,0.545),(1.245,0.085),(0,0.085),(0,-0.085),(2.76,-0.085)],
  [(2.215,2.465),(1.765,2.465),(1.765,1.915),(1.965,1.915),(1.965,0.545),(1.665,0.545),(1.665,0.255),(2.215,0.255)],
  [(2.76,2.805),(0,2.805),(0,2.635),(0.285,2.635),(0.285,1.965),(0.565,1.965),(0.565,2.635),(1.245,2.635),(1.245,1.915),(1.575,1.915),(1.575,2.635),(2.385,2.635),(2.385,1.495),(2.675,1.495),(2.675,2.635),(2.76,2.635)])
A(sky130_fd_sc_hd__and2_2, mcon, 0.145, -0.085, 0.17, 0.17, 6, 2, 0.46, 2.72)
R(sky130_fd_sc_hd__and2_2, met1_pin, [(0.145,-0.085,0.315,0.085), (0.145,2.635,0.315,2.805)])
R(sky130_fd_sc_hd__and2_2, hvtp, [(0,1.25,2.76,2.72)])
R(sky130_fd_sc_hd__and2_2, stdcell_id, [(0,0,2.76,2.72)])
R(sky130_fd_sc_hd__and2_2, nsdm, [(0,-0.19,2.76,1.015)])
R(sky130_fd_sc_hd__and2_2, psdm, [(0,1.355,2.76,2.91)])
R(sky130_fd_sc_hd__and2_2, npc, [(0,0.975,2.76,1.345)])
R(sky130_fd_sc_hd__and2_2, pwell_pin, [(0.145,-0.085,0.315,0.085)])
R(sky130_fd_sc_hd__and2_2, boundary2, [(0,0,2.76,2.72)])
sky130_fd_sc_hd__and2_2.add(gdstk.FlexPath([(0,0),(2.76,0)], 0.48, ends="flush", simple_path=True, layer=68, datatype=20))  # met1
sky130_fd_sc_hd__and2_2.add(gdstk.FlexPath([(0,2.72),(2.76,2.72)], 0.48, ends="flush", simple_path=True, layer=68, datatype=20))  # met1
sky130_fd_sc_hd__and2_2.add(gdstk.Label('VPWR', (0.23,2.72), layer=68, texttype=5))
sky130_fd_sc_hd__and2_2.add(gdstk.Label('VGND', (0.23,0), layer=68, texttype=5))
sky130_fd_sc_hd__and2_2.add(gdstk.Label('A', (0.69,1.19), layer=67, texttype=5))
sky130_fd_sc_hd__and2_2.add(gdstk.Label('X', (2.07,0.85), layer=67, texttype=5))
sky130_fd_sc_hd__and2_2.add(gdstk.Label('A', (0.23,1.19), layer=67, texttype=5))
sky130_fd_sc_hd__and2_2.add(gdstk.Label('X', (2.07,0.51), layer=67, texttype=5))
sky130_fd_sc_hd__and2_2.add(gdstk.Label('X', (2.07,1.19), layer=67, texttype=5))
sky130_fd_sc_hd__and2_2.add(gdstk.Label('X', (2.07,1.53), layer=67, texttype=5))
sky130_fd_sc_hd__and2_2.add(gdstk.Label('X', (2.07,1.87), layer=67, texttype=5))
sky130_fd_sc_hd__and2_2.add(gdstk.Label('X', (2.07,2.21), layer=67, texttype=5))
sky130_fd_sc_hd__and2_2.add(gdstk.Label('B', (1.15,1.19), layer=67, texttype=5))
sky130_fd_sc_hd__and2_2.add(gdstk.Label('VPB', (0.23,2.72), layer=64, texttype=5))
sky130_fd_sc_hd__and2_2.add(gdstk.Label('VNB', (0.23,0), layer=64, texttype=59))
sky130_fd_sc_hd__and2_2.add(gdstk.Label('and2_2', (0,0), layer=83, texttype=44))

dev_ctrl_e1 = lib.new_cell('dev_ctrl_e1')
R(dev_ctrl_e1, li1, [(3.825,1.105,3.995,1.275), (8.425,1.105,8.595,1.275), (9.345,1.105,9.515,1.275), (7.505,1.445,7.675,1.615), (0.605,2.125,0.775,2.295), (9.345,3.145,9.515,3.315), (16.705,3.825,16.875,3.995), (18.085,4.165,18.255,4.335)])
R(dev_ctrl_e1, mcon, [(3.825,1.105,3.995,1.275), (8.425,1.105,8.595,1.275), (9.345,1.105,9.515,1.275), (7.505,1.445,7.675,1.615), (0.605,2.125,0.775,2.295), (9.345,3.145,9.515,3.315), (16.705,3.825,16.875,3.995), (18.085,4.165,18.255,4.335)])
R(dev_ctrl_e1, met1, [(1.7,-0.21,2.9,0.21), (8.44,0.44,26.98,0.58), (8.44,0.58,8.58,1.045), (3.795,1.045,4.025,1.335), (8.395,1.045,8.625,1.335), (9.27,1.06,9.59,1.32), (9.36,1.32,9.5,2.14), (3.84,1.335,3.98,2.14), (7.43,1.4,7.75,1.66), (16.63,2.08,16.95,2.14), (0.545,2.095,0.835,2.14), (0.16,2.14,0.835,2.28), (3.84,2.14,9.5,2.28), (16.63,2.14,18.7,2.28), (0.545,2.28,0.835,2.325), (16.63,2.28,16.95,2.34), (0.1,2.51,1.3,2.93), (9.27,3.1,9.59,3.36), (16.63,3.78,16.95,4.04), (18.47,4.12,18.79,4.18), (18.025,4.135,18.315,4.18), (18.025,4.18,18.79,4.32), (18.025,4.32,18.315,4.365), (18.47,4.32,18.79,4.38), (11.2,4.52,29.74,4.66), (18.47,4.8,18.79,4.86), (18.47,4.86,34.34,5), (18.47,5,18.79,5.06), (1.7,5.23,2.9,5.65)])
A(dev_ctrl_e1, via, 1.905, -0.075, 0.15, 0.15, 3, 2, 0.32, 5.44)
A(dev_ctrl_e1, via, 0.305, 2.645, 0.15, 0.15, 3, 1, 0.32, 0)
R(dev_ctrl_e1, via, [(9.355,1.115,9.505,1.265), (7.515,1.455,7.665,1.605), (16.715,2.135,16.865,2.285), (9.355,3.155,9.505,3.305), (16.715,3.835,16.865,3.985), (18.555,4.175,18.705,4.325), (18.555,4.855,18.705,5.005)])
R(dev_ctrl_e1, met2, [(1.7,-0.24,2.9,0.24), (9.3,1.03,9.56,1.35), (9.36,1.35,9.5,3.07), (7.46,1.37,7.72,1.69), (7.52,1.69,7.66,3.725), (16.66,2.05,16.92,2.37), (16.72,2.37,16.86,3.75), (0.1,2.48,1.3,2.96), (9.3,3.07,9.56,3.39), (7.45,3.725,7.73,4.095), (16.66,3.75,16.92,4.07), (18.5,4.09,18.76,4.41), (18.56,4.41,18.7,4.77), (18.5,4.77,18.76,5.09), (1.7,5.2,2.9,5.68)])
A(dev_ctrl_e1, via2, 1.8, -0.1, 0.2, 0.2, 3, 2, 0.4, 5.44)
A(dev_ctrl_e1, via2, 0.2, 2.62, 0.2, 0.2, 3, 1, 0.4, 0)
R(dev_ctrl_e1, via2, [(7.49,3.81,7.69,4.01)])
A(dev_ctrl_e1, met3, 0, 0.56, 18.4, 0.3, 1, 3, 0, 0.65)
R(dev_ctrl_e1, met3, [(1.7,-0.24,2.9,0.24), (0.1,2.48,1.3,2.96), (5,3.72,7.755,4.1), (1.7,5.2,2.9,5.68)])
A(dev_ctrl_e1, via3, 1.8, -0.1, 0.2, 0.2, 3, 2, 0.4, 5.44)
A(dev_ctrl_e1, via3, 0.2, 2.62, 0.2, 0.2, 3, 1, 0.4, 0)
R(dev_ctrl_e1, via3, [(5.065,3.81,5.265,4.01)])
R(dev_ctrl_e1, met4_pin, [(0.1,-0.24,1.3,5.68), (1.7,-0.24,2.9,5.68)])
R(dev_ctrl_e1, met4, [(0.1,-0.24,1.3,5.68), (1.7,-0.24,2.9,5.68), (5,3.745,5.33,4.075), (5,4.075,5.3,5.7)])
R(dev_ctrl_e1, hvtp, [(17.265,2.335,17.45,2.665), (9.255,2.425,9.795,2.455), (8.295,2.455,9.795,2.665), (0.345,2.665,2.11,2.775), (2.545,2.665,3.915,2.775), (4.355,2.665,5.305,2.775), (5.735,2.665,6.685,2.775), (7.245,2.665,9.795,2.775), (10.49,2.665,13.305,2.775), (13.78,2.665,15.425,2.775), (15.855,2.665,16.43,2.775), (17.07,2.665,17.45,2.805), (8.985,2.775,9.415,2.805), (17.07,2.805,17.255,3.135)])
R(dev_ctrl_e1, nsdm, [(4.13,0.11,4.15,0.78), (6.89,0.11,6.92,0.91), (15.63,0.11,15.65,0.91), (5.51,4.53,5.53,5.33), (9.19,4.53,9.21,5.33)])
R(dev_ctrl_e1, psdm, [(4.13,1.49,4.15,2.61), (6.89,1.49,6.92,2.61), (15.63,1.49,15.65,2.61), (10.1,2.3,10.13,2.525), (9.975,2.525,10.13,2.61), (0.01,2.61,8.5,2.83), (9.975,2.61,16.635,2.83), (17.05,2.61,17.47,2.86), (5.51,2.83,5.53,3.95), (9.19,2.83,9.21,3.95)])
R(dev_ctrl_e1, boundary, [(0,0,18.4,5.44)])
dev_ctrl_e1.add(gdstk.Reference(sky130_fd_sc_hd__tapvpwr, (17.94,0)))
dev_ctrl_e1.add(gdstk.Reference(sky130_fd_sc_hd__tapvpwr, (9.66,0)))
dev_ctrl_e1.add(gdstk.Reference(sky130_fd_sc_hd__fill_1, (17.48,0)))
dev_ctrl_e1.add(gdstk.Reference(sky130_fd_sc_hd__dfrtp_1, (18.4,5.44), rotation=pi))
dev_ctrl_e1.add(gdstk.Reference(sky130_fd_sc_hd__decap_1, (0,5.44), x_reflection=True))
dev_ctrl_e1.add(gdstk.Reference(sky130_fd_sc_hd__decap_1, (10.12,0)))
dev_ctrl_e1.add(gdstk.Reference(sky130_fd_sc_hd__decap_8, (5.52,5.44), x_reflection=True))
dev_ctrl_e1.add(gdstk.Reference(sky130_fd_sc_hd__decap_6, (4.14,0)))
dev_ctrl_e1.add(gdstk.Reference(sky130_fd_sc_hd__decap_4, (15.64,0)))
dev_ctrl_e1.add(gdstk.Reference(sky130_fd_sc_hd__clkdlyb, (4.14,0), rotation=pi, x_reflection=True))
dev_ctrl_e1.add(gdstk.Reference(sky130_fd_sc_hd__and2_2, (9.66,0), rotation=pi, x_reflection=True))
dev_ctrl_e1.add(gdstk.Label('VGND', (2.3,2.72), layer=71, texttype=5))
dev_ctrl_e1.add(gdstk.Label('VDPWR', (0.7,2.72), layer=71, texttype=5))

lib.write_gds('dev_ctrl_e1.gds')
